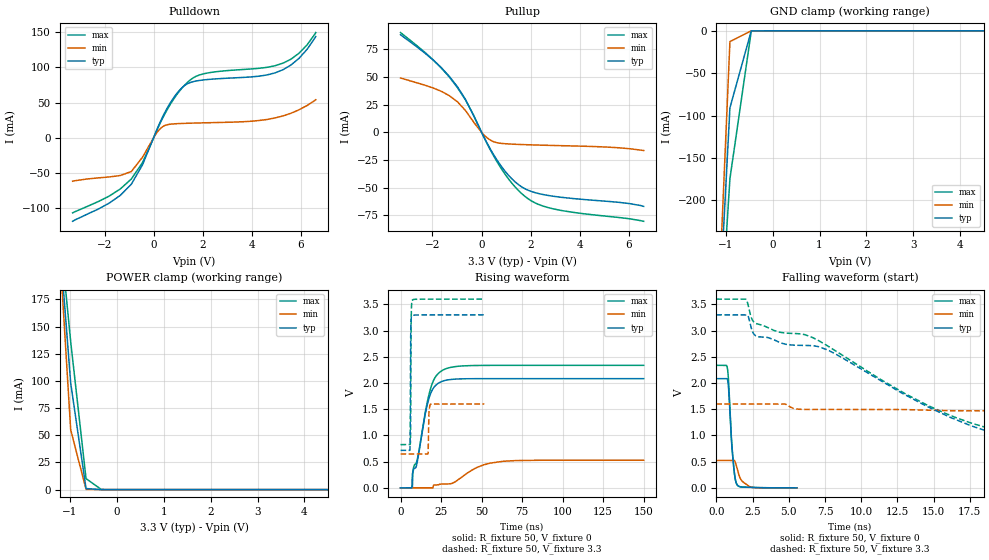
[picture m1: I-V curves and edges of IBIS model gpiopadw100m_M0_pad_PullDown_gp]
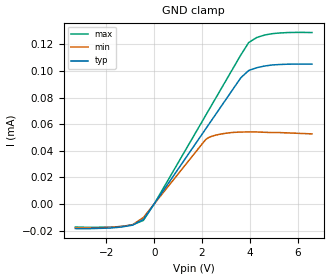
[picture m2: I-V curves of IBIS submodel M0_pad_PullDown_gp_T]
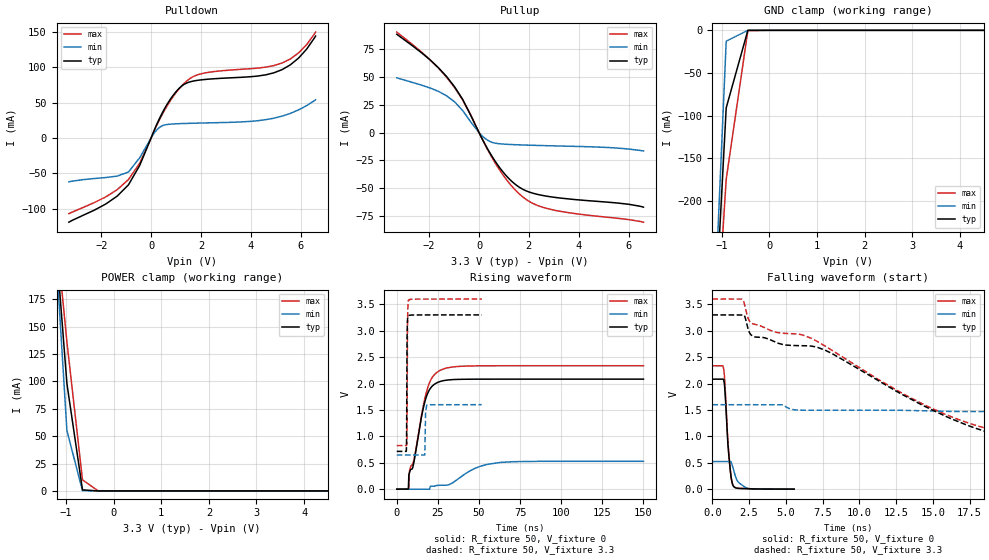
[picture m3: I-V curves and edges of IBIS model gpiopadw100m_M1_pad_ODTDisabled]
|   - ATMEL Microcontrollers -
|   IBIS model for SAM0D20_QFN32
[IBIS Ver]   4.2
[Comment char]  |_char
[File Name]   sam0d20_3m32.ibs
[File Rev]   1.0
[Date]   6-MAY-2013 17:18:33
[Source]   By GENIBIS V3.2b - GENerate chip IBIS model - 29-APR-2013
[Notes]   Property of ATMEL Corporation
[Disclaimer]
                  (C) Copyright ATMEL Nantes 2002-2013
Atmel Nantes makes no warranty for the use of its products, other than
those expressly contained in the Company's standard warranty which is detailed
in Atmel's Terms and Conditions located on the Company's web site. The Company
assumes no responsability for any errors which may appear in this document.
The user is granted this license only to use the IBIS model and is not granted
rights to sell, load, rent, lease or license the IBIS model in whole or in part,
or in modified form to anyone other than user. User may modify the IBIS model
to suit its specific applications but rights to derivative works and such
modifications shall belong to Atmel Nantes.
This IBIS model is provided on an \"AS IS\" basis and Atmel Nantes makes
absolutely no warranty with respect to the information contained herein.
[Copyright]   Copyright (c) 2002-2013 by ATMEL Nantes SA
|   COMPONENT : SAM0D20_QFN32
[Component]   SAM0D20_QFN32
[Manufacturer]  ATMEL Nantes SAS
[Package]
| Package family : QFN
| RLC file   : V1.0
| RLCEDIT tool   : V1.11-2008/10/21
| variable   typ   min   max
R_pkg   43.55m   17.24m   73.49m
L_pkg   458.99p   187.05p   771.95p
C_pkg   35.34f   35.53f   48.35f
[Pin]   signal_name   model_name   R_pin   L_pin   C_pin
|   Real model names   <--->   IBIS model names
|   gpiopadw100m33v1p66k25   gpiopadw100m
|   gpiopadw100m33v1p66k25   gpiopadw100m
|   gpiopadw100m33v1p66k25   gpiopadw100m
|  gpiopadtwifsmw100m33v1p66k25   gpiopadtwifsmw100m
|  gpiopadtwifsmw100m33v1p66k25   gpiopadtwifsmw100m
|  gpiopadtwifsmw100m33v1p66k25   gpiopadtwifsmw100m
|  gpiopadtwifsmw100m33v1p66k25   gpiopadtwifsmw100m
   1   PA00   gpiopadw100m   49.09m  516.60p   34.63f
   2   PA01   gpiopadw100m   39.67m  418.67p   33.73f
   3   PA02   gpiopadw100m   37.31m  394.13p   33.51f
   4   PA03   gpiopadw100m   38.31m  404.47p   33.60f
   5   PA04   gpiopadw100m   42.38m  446.81p   33.99f
   6   PA05   gpiopadw100m   39.55m  417.41p   33.72f
   7   PA06   gpiopadw100m   37.88m  400.07p   33.56f
   8   PA07   gpiopadw100m   44.99m  473.98p   34.24f
   9   VDDANA   POWER   17.25m  185.57p   44.46f
   10   GND   GND   45.87m  483.04p   34.32f
   11   PA08   gpiopadtwifsmw100m   44.16m  465.33p   34.16f
   12   PA09   gpiopadtwifsmw100m   49.18m  517.44p   34.64f
   13   PA10   gpiopadw100m   59.11m  620.71p   35.58f
   14   PA11   gpiopadw100m   73.49m  770.21p   36.94f
   15   PA14   gpiopadw100m   52.40m  550.94p   34.94f
   16   PA15   gpiopadw100m   54.81m  576.03p   35.17f
   17   PA16   gpiopadtwifsmw100m   25.86m  275.07p   39.69f
   18   PA17   gpiopadtwifsmw100m   42.17m  444.59p   33.97f
   19   PA18   gpiopadw100m   38.04m  401.68p   33.58f
   20   PA19   gpiopadw100m   43.27m  456.03p   34.07f
   21   PA22   gpiopadtwifsmw100m   38.06m  401.85p   33.58f
   22   PA23   gpiopadtwifsmw100m   40.92m  431.67p   33.85f
   23   PA24   gpiopadw100m   51.24m  538.86p   34.83f
   24   PA25   gpiopadw100m   64.21m  673.69p   36.06f
   25   PA27   gpiopadw100m   51.90m  545.76p   34.89f
   26   RESET_N   gpiopadw100m   44.54m  469.30p   34.20f
   27   PA28   gpiopadw100m   44.89m  472.84p   34.23f
   28   GND   GND   25.14m  267.62p   39.42f
   29   VDDCORE   POWER   22.36m  238.72p   38.36f
   30   VDDIO   POWER   22.36m  238.71p   38.36f
   31   PA30   gpiopadw100m   50.51m  531.32p   34.76f
   32   PA31   gpiopadw100m   62.75m  658.58p   35.92f
|   MODEL SELECTOR : gpiopadtwifsmw100m
[Model Selector]   gpiopadtwifsmw100m
gpiopadtwifsmw100m_M3_pad_twi   twi mode
gpiopadtwifsmw100m_M2_pad_puodt_gpiop   pull up odt
gpiopadtwifsmw100m_M1_pad_noodt_gpiop   odt disabled
gpiopadtwifsmw100m_M0_pad_pdodt_gpiop   pull down odt
|   MODEL SELECTOR : gpiopadw100m
[Model Selector]   gpiopadw100m
gpiopadw100m_M2_pad_PullUp_gpio   Pull Up
gpiopadw100m_M1_pad_ODTDisabled   ODT Disabled
gpiopadw100m_M0_pad_PullDown_gp   Pull Down
| Models and submodels in the file (11): gpiopadw100m_M0_pad_PullDown_gp (I/O), M0_pad_PullDown_gp_T (Dynamic_clamp), gpiopadw100m_M1_pad_ODTDisabled (I/O), gpiopadw100m_M2_pad_PullUp_gpio (I/O), M2_pad_PullUp_gpio_T (Dynamic_clamp), gpiopadtwifsmw100m_M0_pad_pdodt_gpiop (I/O), M0_pad_pdodt_gpiop_T (Dynamic_clamp), gpiopadtwifsmw100m_M1_pad_noodt_gpiop (I/O), gpiopadtwifsmw100m_M2_pad_puodt_gpiop (I/O), M2_pad_puodt_gpiop_T (Dynamic_clamp), gpiopadtwifsmw100m_M3_pad_twi (I/O_open_sink)
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|   MODEL : gpiopadw100m_M0_pad_PullDown_gp
[Model] gpiopadw100m_M0_pad_PullDown_gp
Model_type I/O
Vinl  =  0.99
Vinh  =  2.31
Vmeas =  1.650
| Capacitance   typ   min   max
C_comp   1.24002p   1.23763p   1.27582p
| Variables   typ   min   max
[GND Clamp Reference]   0   0   0
[POWER Clamp Reference]   3.3   1.6   3.6
[Pulldown Reference]   0   0   0
[Pullup Reference]   3.3   1.6   3.6
[Temperature Range]   25   -40   105
[Voltage Range]   3.3   1.6   3.6
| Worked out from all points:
|   slope of the pulldown table from 0 to 0.495 V, typ, clamps not added: 12.9 ohm
|   slope of the pullup table from 0 to 0.495 V, typ, clamps not added: 24.3 ohm
|   falling waveform, R_fixture 50, V_fixture 0: 20-80 % time 299ps typ, 492ps min, 300ps max; typ from 2.08 V to 0.001 V
|   falling waveform, R_fixture 50, V_fixture 3.3: 20-80 % time 12.8ns typ, 35ns min, 12.5ns max; typ from 3.3 V to 0.715 V
|   rising waveform, R_fixture 50, V_fixture 0: 20-80 % time 7.4ns typ, 16.7ns min, 8.69ns max; typ from 0 V to 2.08 V
|   rising waveform, R_fixture 50, V_fixture 3.3: 20-80 % time 217ps typ, 319ps min, 221ps max; typ from 0.715 V to 3.3 V
[GND Clamp]
| Voltage   I(typ)   I(min)   I(max)
-3.3V     -2.634A    -3.19A     -2.302A
-1.364V   -570.8mA   -594.8mA   -573.1mA
-909.1mV  -90.85mA   -12.72mA   -174.6mA
-454.5mV  -20.67uA   -222.6nA   -356.4uA
6.6V      0A         0A         0A
[POWER Clamp]
| Voltage   I(typ)   I(min)   I(max)
-3.3V     1.751A     2.103A     1.493A
-1.309V   280.3mA    286mA      281.7mA
-981.8mV  98.06mA    55.04mA    136mA
-654.5mV  963uA      216.9uA    10.07mA
-327.3mV  1.354uA    8.417nA    98.06uA
6.6V      0A         0A         0A
[Pulldown]
| Voltage   I(typ)   I(min)   I(max)
-3.3V     -119mA     -61.98mA   -107mA
-1.818V   -93.33mA   -55.91mA   -83.28mA
-909.1mV  -66.28mA   -48.18mA   -58.8mA
-454.5mV  -38.59mA   -27.85mA   -35.52mA
309.4mV   25.56mA    14.14mA    23.9mA
773.4mV   54.8mA     19.53mA    52.8mA
1.238V    73.69mA    20.38mA    73.94mA
1.598V    79.67mA    20.77mA    84.92mA
2.062V    82.36mA    21.18mA    91.19mA
4.936V    92.21mA    28.04mA    102.4mA
5.918V    113mA      39.7mA     120.2mA
6.6V      144.1mA    54mA       149.7mA
[Pullup]
| Voltage   I(typ)   I(min)   I(max)
-3.3V     88.24mA    49.15mA    90.19mA
-1.964V   65.21mA    40.03mA    65.35mA
-981.8mV  41.15mA    27.61mA    40.42mA
-654.5mV  29.72mA    19.7mA     29.25mA
-327.3mV  15.24mA    9.418mA    15.62mA
51.56mV   -2.336mA   -1.279mA   -2.314mA
360.9mV   -15.31mA   -7.05mA    -16.02mA
1.083V    -38.48mA   -10.47mA   -41.7mA
1.805V    -51.42mA   -11.17mA   -58.57mA
2.32V     -55.33mA   -11.52mA   -65.17mA
3.042V    -58.15mA   -11.95mA   -69.75mA
6.6V      -66.94mA   -16.45mA   -80.43mA
[Ramp]
dV/dt_r   1.24997/7.40251n  0.314091/16.5147n  1.40232/8.68884n
dV/dt_f   1.55089/12.8345n  0.573997/35.0183n  1.66518/12.5246n
R_load = 50
[Falling Waveform]
R_fixture = 50
V_fixture = 0
V_fixture_min = 0
V_fixture_max = 0
| Time   V(typ)   V(min)   V(max)
0s        2.083V     523.3mV    2.337V
766.8ps   2.071V     523.3mV    2.283V
859.1ps   1.854V     523.3mV    1.98V
1.016ns   1.031V     523.3mV    1.086V
1.166ns   507.3mV    523.3mV    511.5mV
1.301ns   182.1mV    499mV      180.2mV
1.456ns   49.46mV    351.4mV    51.8mV
1.737ns   16.79mV    143.7mV    17.7mV
2.377ns   11.46mV    15.09mV    11.25mV
5.563ns   974.4uV    463.6uV    868.6uV
[Falling Waveform]
R_fixture = 50
V_fixture = 3.3
V_fixture_min = 1.6
V_fixture_max = 3.6
| Time   V(typ)   V(min)   V(max)
0s        3.3V       1.6V       3.6V
2.025ns   3.299V     1.599V     3.599V
2.467ns   3.006V     1.599V     3.213V
2.726ns   2.9V       1.599V     3.135V
7.623ns   2.639V     1.496V     2.718V
16.56ns   1.298V     1.471V     1.337V
19.86ns   995.9mV    1.47V      1.078V
23.59ns   851.1mV    1.469V     959.9mV
75.53ns   715.4mV    777.3mV    825.1mV
150ns     715mV      643.3mV    824.6mV
[Rising Waveform]
R_fixture = 50
V_fixture = 0
V_fixture_min = 0
V_fixture_max = 0
| Time   V(typ)   V(min)   V(max)
0s        2.426nV    1.414nV    231.1nV
7.015ns   1.373mV    1.414nV    231.1nV
7.273ns   249.7mV    1.414nV    1.092mV
7.688ns   306.6mV    1.414nV    339.6mV
10.15ns   466.4mV    1.414nV    517.8mV
17.83ns   1.736V     1.414nV    1.816V
21.13ns   1.938V     54.42mV    2.096V
26.11ns   2.036V     74.09mV    2.247V
63.28ns   2.083V     507.2mV    2.337V
150ns     2.083V     527.1mV    2.337V
[Rising Waveform]
R_fixture = 50
V_fixture = 3.3
V_fixture_min = 1.6
V_fixture_max = 3.6
| Time   V(typ)   V(min)   V(max)
0s        715.2mV    647.1mV    824.7mV
5.764ns   715.9mV    647.1mV    824.7mV
6.051ns   1.67V      647.1mV    842mV
6.232ns   2.824V     647.1mV    1.111V
6.51ns    3.197V     647.1mV    3.089V
7.104ns   3.28V      647.1mV    3.577V
17.01ns   3.299V     647.5mV    3.599V
17.47ns   3.299V     1.414V     3.599V
18.37ns   3.3V       1.593V     3.599V
51.69ns   3.3V       1.6V       3.6V
[Add Submodel]
| Submodel Name Mode
M0_pad_PullDown_gp_T Non-Driving
| Submodel
[Submodel]  M0_pad_PullDown_gp_T
Submodel_type Dynamic_clamp
[GND Clamp]
| Voltage   I(typ)   I(min)   I(max)
-3.3V     -18.53uA   -18.06uA   -17.4uA
-1.818V   -18.12uA   -17.64uA   -17.46uA
-909.1mV  -15.94uA   -15.68uA   -15.74uA
-454.5mV  -11.7uA    -10.25uA   -12.4uA
0V        13.22pA    6.228pA    323.5pA
2.166V    56.71uA    48.48uA    66.94uA
2.681V    70.21uA    52.14uA    82.88uA
3.627V    94.95uA    54.06uA    112.1uA
3.955V    100.3uA    54.12uA    121.3uA
4.282V    102.4uA    54.12uA    125.1uA
4.936V    104.5uA    53.64uA    128uA
6.6V      105.1uA    52.67uA    128.9uA
|   MODEL : gpiopadw100m_M1_pad_ODTDisabled
[Model] gpiopadw100m_M1_pad_ODTDisabled
Model_type I/O
Vinl  =  0.99
Vinh  =  2.31
Vmeas =  1.650
| Capacitance   typ   min   max
C_comp   1.24002p   1.23763p   1.27582p
| Variables   typ   min   max
[GND Clamp Reference]   0   0   0
[POWER Clamp Reference]   3.3   1.6   3.6
[Pulldown Reference]   0   0   0
[Pullup Reference]   3.3   1.6   3.6
[Temperature Range]   25   -40   105
[Voltage Range]   3.3   1.6   3.6
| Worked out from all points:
|   slope of the pulldown table from 0 to 0.495 V, typ, clamps not added: 12.9 ohm
|   slope of the pullup table from 0 to 0.495 V, typ, clamps not added: 24.3 ohm
|   falling waveform, R_fixture 50, V_fixture 0: 20-80 % time 299ps typ, 492ps min, 300ps max; typ from 2.08 V to 0.001 V
|   falling waveform, R_fixture 50, V_fixture 3.3: 20-80 % time 12.8ns typ, 35ns min, 12.5ns max; typ from 3.3 V to 0.715 V
|   rising waveform, R_fixture 50, V_fixture 0: 20-80 % time 7.4ns typ, 16.7ns min, 8.69ns max; typ from 0 V to 2.08 V
|   rising waveform, R_fixture 50, V_fixture 3.3: 20-80 % time 217ps typ, 319ps min, 221ps max; typ from 0.715 V to 3.3 V
[GND Clamp]
| Voltage   I(typ)   I(min)   I(max)
-3.3V     -2.634A    -3.19A     -2.302A
-1.364V   -570.8mA   -594.8mA   -573.1mA
-909.1mV  -90.85mA   -12.72mA   -174.6mA
-454.5mV  -20.67uA   -222.6nA   -356.4uA
6.6V      0A         0A         0A
[POWER Clamp]
| Voltage   I(typ)   I(min)   I(max)
-3.3V     1.751A     2.103A     1.493A
-1.309V   280.3mA    286mA      281.7mA
-981.8mV  98.06mA    55.04mA    136mA
-654.5mV  963uA      216.9uA    10.07mA
-327.3mV  1.354uA    8.417nA    98.06uA
6.6V      0A         0A         0A
[Pulldown]
| Voltage   I(typ)   I(min)   I(max)
-3.3V     -119mA     -61.98mA   -107mA
-1.818V   -93.33mA   -55.91mA   -83.28mA
-909.1mV  -66.28mA   -48.18mA   -58.8mA
-454.5mV  -38.59mA   -27.85mA   -35.52mA
309.4mV   25.56mA    14.14mA    23.9mA
773.4mV   54.8mA     19.53mA    52.8mA
1.238V    73.69mA    20.38mA    73.94mA
1.598V    79.67mA    20.77mA    84.92mA
2.062V    82.36mA    21.18mA    91.19mA
4.936V    92.21mA    28.04mA    102.4mA
5.918V    113mA      39.7mA     120.2mA
6.6V      144.1mA    54mA       149.7mA
[Pullup]
| Voltage   I(typ)   I(min)   I(max)
-3.3V     88.24mA    49.15mA    90.19mA
-1.964V   65.21mA    40.03mA    65.35mA
-981.8mV  41.15mA    27.61mA    40.42mA
-654.5mV  29.72mA    19.7mA     29.25mA
-327.3mV  15.24mA    9.418mA    15.62mA
51.56mV   -2.336mA   -1.279mA   -2.314mA
360.9mV   -15.31mA   -7.05mA    -16.02mA
1.083V    -38.48mA   -10.47mA   -41.7mA
1.805V    -51.42mA   -11.17mA   -58.57mA
2.32V     -55.33mA   -11.52mA   -65.17mA
3.042V    -58.15mA   -11.95mA   -69.75mA
6.6V      -66.94mA   -16.45mA   -80.43mA
[Ramp]
dV/dt_r   1.24997/7.40251n  0.314091/16.5147n  1.40232/8.68884n
dV/dt_f   1.55089/12.8345n  0.573997/35.0183n  1.66518/12.5246n
R_load = 50
[Falling Waveform]
R_fixture = 50
V_fixture = 0
V_fixture_min = 0
V_fixture_max = 0
| Time   V(typ)   V(min)   V(max)
0s        2.083V     523.3mV    2.337V
766.8ps   2.071V     523.3mV    2.283V
859.1ps   1.854V     523.3mV    1.98V
1.016ns   1.031V     523.3mV    1.086V
1.166ns   507.3mV    523.3mV    511.5mV
1.301ns   182.1mV    499mV      180.2mV
1.456ns   49.46mV    351.4mV    51.8mV
1.737ns   16.79mV    143.7mV    17.7mV
2.377ns   11.46mV    15.09mV    11.25mV
5.563ns   974.4uV    463.6uV    868.6uV
[Falling Waveform]
R_fixture = 50
V_fixture = 3.3
V_fixture_min = 1.6
V_fixture_max = 3.6
| Time   V(typ)   V(min)   V(max)
0s        3.3V       1.6V       3.6V
2.025ns   3.299V     1.599V     3.599V
2.467ns   3.006V     1.599V     3.213V
2.726ns   2.9V       1.599V     3.135V
7.623ns   2.639V     1.496V     2.718V
16.56ns   1.298V     1.471V     1.337V
19.86ns   995.9mV    1.47V      1.078V
23.59ns   851.1mV    1.469V     959.9mV
75.53ns   715.4mV    777.3mV    825.1mV
150ns     715mV      643.3mV    824.6mV
[Rising Waveform]
R_fixture = 50
V_fixture = 0
V_fixture_min = 0
V_fixture_max = 0
| Time   V(typ)   V(min)   V(max)
0s        2.426nV    1.414nV    231.1nV
7.015ns   1.373mV    1.414nV    231.1nV
7.273ns   249.7mV    1.414nV    1.092mV
7.688ns   306.6mV    1.414nV    339.6mV
10.15ns   466.4mV    1.414nV    517.8mV
17.83ns   1.736V     1.414nV    1.816V
21.13ns   1.938V     54.42mV    2.096V
26.11ns   2.036V     74.09mV    2.247V
63.28ns   2.083V     507.2mV    2.337V
150ns     2.083V     527.1mV    2.337V
[Rising Waveform]
R_fixture = 50
V_fixture = 3.3
V_fixture_min = 1.6
V_fixture_max = 3.6
| Time   V(typ)   V(min)   V(max)
0s        715.2mV    647.1mV    824.7mV
5.764ns   715.9mV    647.1mV    824.7mV
6.051ns   1.67V      647.1mV    842mV
6.232ns   2.824V     647.1mV    1.111V
6.51ns    3.197V     647.1mV    3.089V
7.104ns   3.28V      647.1mV    3.577V
17.01ns   3.299V     647.5mV    3.599V
17.47ns   3.299V     1.414V     3.599V
18.37ns   3.3V       1.593V     3.599V
51.69ns   3.3V       1.6V       3.6V
